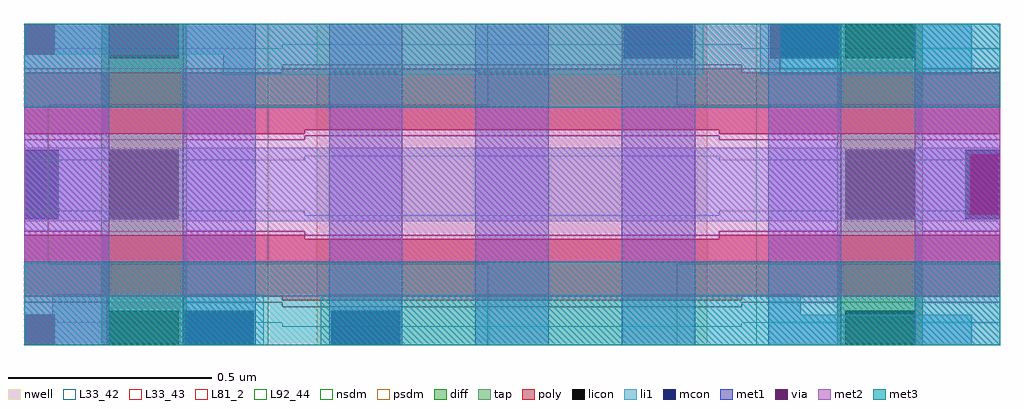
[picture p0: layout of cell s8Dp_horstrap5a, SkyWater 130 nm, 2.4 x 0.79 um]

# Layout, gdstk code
from math import pi, radians
import gdstk
lib = gdstk.Library(unit=1e-6, precision=1e-09)
def R(c, l, rs):  # rectangles x0, y0, x1, y1
    for r in rs: c.add(gdstk.rectangle(r[:2], r[2:], *l))
def P(c, l, *ps):  # polygons
    for p in ps: c.add(gdstk.Polygon(p, *l))
L33_42 = (33, 42)
L33_43 = (33, 43)
nwell = (64, 20)
diff = (65, 20)
tap = (65, 44)
poly = (66, 20)
licon = (66, 44)
li1 = (67, 20)
mcon = (67, 44)
met1 = (68, 20)
via = (68, 44)
met2 = (69, 20)
met3 = (70, 20)
L81_2 = (81, 2)
L92_44 = (92, 44)
nsdm = (93, 44)
psdm = (94, 20)

s8dp_cell_half_poly_siz_ = lib.new_cell('s8Dp_cell_half_poly_siz_optD')
P(s8dp_cell_half_poly_siz_, L33_42, [(0.635,-0.075),(0.635,-0.065),(0,-0.065),(0,-0.015),(0.635,-0.015),(0.635,-0.025),(1.2,-0.025),(1.2,-0.075)])
P(s8dp_cell_half_poly_siz_, L33_43, [(0.635,-0.025),(0.635,-0.015),(0,-0.015),(0,0),(0.635,0),(0.635,-0.01),(1.2,-0.01),(1.2,-0.025)])

c_s8dp_cell_half_poly_siz_ = lib.new_cell('s8Dp_cell_half_poly_siz_optC')
P(c_s8dp_cell_half_poly_siz_, L33_42, [(0.69,0),(0.69,0.01),(0,0.01),(0,0.06),(0.69,0.06),(0.69,0.05),(1.2,0.05),(1.2,0)])
R(c_s8dp_cell_half_poly_siz_, L33_43, [(0.69,-0.01,1.2,0), (0,0,0.69,0.01)])

c_s8dp_cell_half_poly_siz__ = lib.new_cell('s8Dp_cell_half_poly_siz_optB')
P(c_s8dp_cell_half_poly_siz__, L33_42, [(0,-0.065),(0,-0.015),(0.69,-0.015),(0.69,-0.005),(1.2,-0.005),(1.2,-0.055),(0.69,-0.055),(0.69,-0.065)])
P(c_s8dp_cell_half_poly_siz__, L33_43, [(0,-0.015),(0,0),(0.69,0),(0.69,0.01),(1.2,0.01),(1.2,-0.005),(0.69,-0.005),(0.69,-0.015)])

c_s8dp_cell_half_poly_siz___ = lib.new_cell('s8Dp_cell_half_poly_siz_optA')
P(c_s8dp_cell_half_poly_siz___, L33_42, [(0,0.01),(0,0.06),(0.635,0.06),(0.635,0.07),(1.2,0.07),(1.2,0.02),(0.635,0.02),(0.635,0.01)])
R(c_s8dp_cell_half_poly_siz___, L33_43, [(0,0,0.635,0.01), (0.635,0.01,1.2,0.02)])

s8dp_horstrap_p1m_siz = lib.new_cell('s8Dp_horstrap_p1m_siz')
s8dp_horstrap_p1m_siz.add(gdstk.Reference(s8dp_cell_half_poly_siz_, (2.4,0.12), rotation=pi, x_reflection=True))
s8dp_horstrap_p1m_siz.add(gdstk.Reference(s8dp_cell_half_poly_siz_, (0,0.12)))
s8dp_horstrap_p1m_siz.add(gdstk.Reference(c_s8dp_cell_half_poly_siz_, (2.4,0.27), rotation=pi, x_reflection=True))
s8dp_horstrap_p1m_siz.add(gdstk.Reference(c_s8dp_cell_half_poly_siz_, (0,0.27)))
s8dp_horstrap_p1m_siz.add(gdstk.Reference(c_s8dp_cell_half_poly_siz__, (2.4,0.52), rotation=pi, x_reflection=True))
s8dp_horstrap_p1m_siz.add(gdstk.Reference(c_s8dp_cell_half_poly_siz__, (0,0.52)))
s8dp_horstrap_p1m_siz.add(gdstk.Reference(c_s8dp_cell_half_poly_siz___, (2.4,0.67), rotation=pi, x_reflection=True))
s8dp_horstrap_p1m_siz.add(gdstk.Reference(c_s8dp_cell_half_poly_siz___, (0,0.67)))

s8dp_horstrap_li = lib.new_cell('s8Dp_horstrap_li')
R(s8dp_horstrap_li, li1, [(1.2,0,1.67,0.125), (1.81,0,2.33,0.125)])
P(s8dp_horstrap_li, li1, [(0.07,0),(0.07,0.075),(0.49,0.075),(0.49,0.125),(1.2,0.125),(1.2,0)])

s8dp_horstrap_mcon = lib.new_cell('s8Dp_horstrap_mcon')
R(s8dp_horstrap_mcon, mcon, [(1.475,0,1.645,0.085), (1.835,0,2.005,0.085)])

s8dp_horstrap_limcon = lib.new_cell('s8Dp_horstrap_limcon')
s8dp_horstrap_limcon.add(gdstk.Reference(s8dp_horstrap_li, (2.4,0.79), rotation=pi))
s8dp_horstrap_limcon.add(gdstk.Reference(s8dp_horstrap_li, (0,0)))
s8dp_horstrap_limcon.add(gdstk.Reference(s8dp_horstrap_mcon, (0,0)))
s8dp_horstrap_limcon.add(gdstk.Reference(s8dp_horstrap_mcon, (2.4,0.79), rotation=pi))

s8dp_cell_half_wl = lib.new_cell('s8Dp_cell_half_wl')
P(s8dp_cell_half_wl, poly, [(0.635,-0.01),(0.635,0),(0,0),(0,0.15),(0.69,0.15),(0.69,0.14),(1.2,0.14),(1.2,-0.01)])

s8dp_horstrap_h = lib.new_cell('s8Dp_horstrap_h')
R(s8dp_horstrap_h, nwell, [(0.72,0,1.2,0.79)])
R(s8dp_horstrap_h, diff, [(0.19,0,0.4,0.2), (0.19,0.59,0.4,0.79)])
R(s8dp_horstrap_h, tap, [(0.19,0.2,0.4,0.59)])
R(s8dp_horstrap_h, licon, [(0.21,0,0.38,0.085), (0.21,0.31,0.38,0.48), (0.21,0.705,0.38,0.79)])
R(s8dp_horstrap_h, li1, [(0,0.305,0.525,0.485), (0.525,0.305,1.2,0.485)])
R(s8dp_horstrap_h, met3, [(0,0,1.2,0.205), (0,0.585,1.2,0.79)])
R(s8dp_horstrap_h, L92_44, [(0,0,0.6,0.79)])
R(s8dp_horstrap_h, psdm, [(0.06,0.2,1.2,0.59)])
s8dp_horstrap_h.add(gdstk.Reference(s8dp_cell_half_wl, (0,0.12)))
s8dp_horstrap_h.add(gdstk.Reference(s8dp_cell_half_wl, (0,0.67), x_reflection=True))

s8dp_horstrap_half = lib.new_cell('s8Dp_horstrap_half')
R(s8dp_horstrap_half, mcon, [(0,0.31,0.085,0.48)])
R(s8dp_horstrap_half, met1, [(0.39,0,0.57,0.79), (0.75,0,0.93,0.79), (1.11,0,1.2,0.79), (0,0.205,0.21,0.585)])
R(s8dp_horstrap_half, met2, [(0,0.12,1.2,0.67)])
s8dp_horstrap_half.add(gdstk.Reference(s8dp_horstrap_h, (0,0)))

s8dp_horstrap_half5 = lib.new_cell('s8Dp_horstrap_half5')
R(s8dp_horstrap_half5, mcon, [(0,0.31,0.085,0.48)])
R(s8dp_horstrap_half5, met1, [(0,0,0.21,0.205), (0,0.585,0.21,0.79)])
R(s8dp_horstrap_half5, via, [(0,0,0.075,0.075), (0,0.715,0.075,0.79)])
R(s8dp_horstrap_half5, met2, [(0,0,0.205,0.79)])
R(s8dp_horstrap_half5, nsdm, [(0,0.2,0.06,0.59)])
s8dp_horstrap_half5.add(gdstk.Reference(s8dp_horstrap_half, (0,0)))

s8dp_horstrap_half1 = lib.new_cell('s8Dp_horstrap_half1')
R(s8dp_horstrap_half1, mcon, [(0,0.31,0.085,0.48)])
R(s8dp_horstrap_half1, met1, [(0,0,0.21,0.205), (0,0.585,0.21,0.79)])
R(s8dp_horstrap_half1, via, [(0,0.32,0.075,0.47)])
R(s8dp_horstrap_half1, psdm, [(0,0.2,0.06,0.59)])
s8dp_horstrap_half1.add(gdstk.Reference(s8dp_horstrap_half, (0,0)))

s8dp_horstrap_npsdm = lib.new_cell('s8Dp_horstrap_npsdm')
R(s8dp_horstrap_npsdm, nsdm, [(0,0,1.14,0.2), (1.605,0,2.4,0.2), (0,0.59,1.14,0.79), (1.605,0.59,2.4,0.79)])
R(s8dp_horstrap_npsdm, psdm, [(1.14,0,1.605,0.2), (1.14,0.59,1.605,0.79)])

s8dp_horstrap5a = lib.new_cell('s8Dp_horstrap5a')
R(s8dp_horstrap5a, met2, [(0.205,0.67,1.86,0.79)])
R(s8dp_horstrap5a, L81_2, [(0,0,2.4,0.79)])
s8dp_horstrap5a.add(gdstk.Reference(s8dp_horstrap_p1m_siz, (0,0)))
s8dp_horstrap5a.add(gdstk.Reference(s8dp_horstrap_limcon, (0,0.79), x_reflection=True))
s8dp_horstrap5a.add(gdstk.Reference(s8dp_horstrap_half5, (0,0)))
s8dp_horstrap5a.add(gdstk.Reference(s8dp_horstrap_half1, (2.4,0), rotation=pi, x_reflection=True))
s8dp_horstrap5a.add(gdstk.Reference(s8dp_horstrap_npsdm, (0,0)))

lib.write_gds('s8Dp_horstrap5a.gds')
